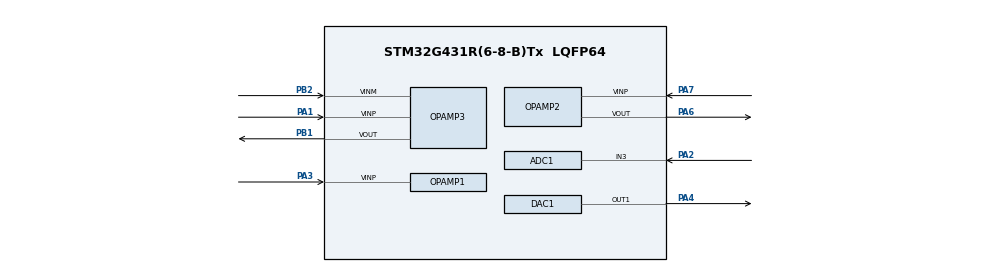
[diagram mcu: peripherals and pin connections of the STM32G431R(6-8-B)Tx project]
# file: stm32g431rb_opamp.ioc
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ADC1.Channel-4\#ChannelRegularConversion=ADC_CHANNEL_3
ADC1.Channel-5\#ChannelRegularConversion=ADC_CHANNEL_12
ADC1.ClockPrescaler=ADC_CLOCK_ASYNC_DIV4
ADC1.DMAContinuousRequests=ENABLE
ADC1.EOCSelection=ADC_EOC_SEQ_CONV
ADC1.NbrOfConversion=2
ADC1.NbrOfConversionFlag=1
ADC1.OffsetNumber-4\#ChannelRegularConversion=ADC_OFFSET_NONE
ADC1.OffsetNumber-5\#ChannelRegularConversion=ADC_OFFSET_NONE
ADC1.Rank-4\#ChannelRegularConversion=1
ADC1.Rank-5\#ChannelRegularConversion=2
ADC1.SamplingTime-4\#ChannelRegularConversion=ADC_SAMPLETIME_12CYCLES_5
ADC1.SamplingTime-5\#ChannelRegularConversion=ADC_SAMPLETIME_12CYCLES_5
ADC1.master=1
Dma.ADC1.0.Direction=DMA_PERIPH_TO_MEMORY
Dma.ADC1.0.EventEnable=DISABLE
Dma.ADC1.0.Instance=DMA1_Channel1
Dma.ADC1.0.MemDataAlignment=DMA_MDATAALIGN_HALFWORD
Dma.ADC1.0.MemInc=DMA_MINC_ENABLE
Dma.ADC1.0.Mode=DMA_CIRCULAR
Dma.ADC1.0.PeriphDataAlignment=DMA_PDATAALIGN_HALFWORD
Dma.ADC1.0.PeriphInc=DMA_PINC_DISABLE
Dma.ADC1.0.Polarity=HAL_DMAMUX_REQ_GEN_RISING
Dma.ADC1.0.Priority=DMA_PRIORITY_LOW
Dma.ADC1.0.RequestNumber=1
Dma.ADC1.0.SignalID=NONE
Dma.ADC1.0.SyncEnable=DISABLE
Dma.ADC1.0.SyncPolarity=HAL_DMAMUX_SYNC_NO_EVENT
Dma.ADC1.0.SyncRequestNumber=1
Dma.ADC1.0.SyncSignalID=NONE
Dma.Request0=ADC1
Mcu.Family=STM32G4
Mcu.Name=STM32G431R(6-8-B)Tx
Mcu.Package=LQFP64
NVIC.DMA1_Channel1_IRQn=true\:0\:0\:false\:false\:true\:false\:true
NVIC.PriorityGroup=NVIC_PRIORITYGROUP_4
OPAMP1.PowerMode=OPAMP_POWERMODE_HIGHSPEED
OPAMP2.PowerMode=OPAMP_POWERMODE_HIGHSPEED
OPAMP3.PowerMode=OPAMP_POWERMODE_HIGHSPEED
PA1.Mode=Standalone
PA1.Signal=OPAMP3_VINP
PA13.Mode=Serial_Wire
PA13.Signal=SYS_JTMS-SWDIO
PA14.Mode=Serial_Wire
PA14.Signal=SYS_JTCK-SWCLK
PA2.Signal=SharedAnalog_PA2
PA3.Mode=Follower
PA3.Signal=OPAMP1_VINP
PA4.Signal=COMP_DAC11_group
PA6.Mode=Follower
PA6.Signal=OPAMP2_VOUT
PA7.Mode=Follower
PA7.Signal=OPAMP2_VINP
PB1.Signal=SharedAnalog_PB1
PB2.Mode=Standalone
PB2.Signal=OPAMP3_VINM
ProjectManager.HeapSize=0x200
ProjectManager.StackSize=0x400
ProjectManager.TargetToolchain=MDK-ARM V5
RCC.ADC12Freq_Value=170000000
RCC.AHBFreq_Value=170000000
RCC.APB1Freq_Value=170000000
RCC.APB1TimFreq_Value=170000000
RCC.APB2Freq_Value=170000000
RCC.APB2TimFreq_Value=170000000
RCC.CortexFreq_Value=170000000
RCC.EXTERNAL_CLOCK_VALUE=12288000
RCC.HCLKFreq_Value=170000000
RCC.HSE_VALUE=8000000
RCC.HSI48_VALUE=48000000
RCC.HSI_VALUE=16000000
RCC.LSE_VALUE=32768
RCC.PLLM=RCC_PLLM_DIV4
RCC.PLLN=85
RCC.SYSCLKFreq_VALUE=170000000
RCC.SYSCLKSource=RCC_SYSCLKSOURCE_PLLCLK
RCC.USBFreq_Value=170000000
RCC.VCOOutputFreq_Value=340000000
SH.COMP_DAC11_group.0=DAC1_OUT1,DAC_OUT1
SH.SharedAnalog_PA2.0=ADC1_IN3,IN3-Single-Ended
SH.SharedAnalog_PA2.1=OPAMP1_VOUT,Follower
SH.SharedAnalog_PB1.0=OPAMP3_VOUT,Standalone
SH.SharedAnalog_PB1.1=ADC1_IN12,IN12-Single-Ended
VP_SYS_VS_DBSignals.Mode=DisableDeadBatterySignals
board=custom

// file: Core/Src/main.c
/* USER CODE BEGIN Header */
/**
  ******************************************************************************
  * @file           : main.c
  * @brief          : Main program body
  ******************************************************************************
  * @attention
  *
  * <h2><center>&copy; Copyright (c) 2021 STMicroelectronics.
  * All rights reserved.</center></h2>
  *
  * This software component is licensed by ST under BSD 3-Clause license,
  * the "License"; You may not use this file except in compliance with the
  * License. You may obtain a copy of the License at:
  *                        opensource.org/licenses/BSD-3-Clause
  *
  ******************************************************************************
  */
/* USER CODE END Header */
#include "main.h"
#include "adc.h"
#include "dac.h"
#include "dma.h"
#include "opamp.h"
#include "gpio.h"

void SystemClock_Config(void);

/* USER CODE BEGIN 0 */
#define ADCCONVERTEDVALUES_BUFFER_SIZE ((uint32_t)  2)
static __IO uint16_t   aADCxConvertedValues[ADCCONVERTEDVALUES_BUFFER_SIZE];

static void Activate_DMA_ADC(void);
static void Activate_ADC(void);
static void Activate_OPAMP(void);
static void Activate_DAC(void);
/* USER CODE END 0 */

int main(void)
{

  /* MCU Configuration--------------------------------------------------------*/

  /* Reset of all peripherals, Initializes the Flash interface and the Systick. */

  LL_APB2_GRP1_EnableClock(LL_APB2_GRP1_PERIPH_SYSCFG);
  LL_APB1_GRP1_EnableClock(LL_APB1_GRP1_PERIPH_PWR);

  NVIC_SetPriorityGrouping(NVIC_PRIORITYGROUP_4);

  /* System interrupt init*/

  /** Disable the internal Pull-Up in Dead Battery pins of UCPD peripheral
  */
  LL_PWR_DisableUCPDDeadBattery();

  /* Configure the system clock */
  SystemClock_Config();

  /* Initialize all configured peripherals */
  MX_GPIO_Init();
  MX_DMA_Init();
  MX_ADC1_Init();
  MX_OPAMP1_Init();
  MX_OPAMP2_Init();
  MX_OPAMP3_Init();
  MX_DAC1_Init();
  /* USER CODE BEGIN 2 */
	Activate_DAC();
	Activate_OPAMP();
	Activate_DMA_ADC();
	Activate_ADC();
  /* USER CODE END 2 */

  /* Infinite loop */
  while (1)
  {

  }
}

void SystemClock_Config(void)
{
  LL_FLASH_SetLatency(LL_FLASH_LATENCY_4);
  while(LL_FLASH_GetLatency() != LL_FLASH_LATENCY_4)
  {
  }
  LL_PWR_EnableRange1BoostMode();
  LL_RCC_HSI_Enable();
   /* Wait till HSI is ready */
  while(LL_RCC_HSI_IsReady() != 1)
  {
  }

  LL_RCC_HSI_SetCalibTrimming(64);
  LL_RCC_PLL_ConfigDomain_SYS(LL_RCC_PLLSOURCE_HSI, LL_RCC_PLLM_DIV_4, 85, LL_RCC_PLLR_DIV_2);
  LL_RCC_PLL_EnableDomain_SYS();
  LL_RCC_PLL_Enable();
   /* Wait till PLL is ready */
  while(LL_RCC_PLL_IsReady() != 1)
  {
  }

  LL_RCC_SetSysClkSource(LL_RCC_SYS_CLKSOURCE_PLL);
  LL_RCC_SetAHBPrescaler(LL_RCC_SYSCLK_DIV_2);
   /* Wait till System clock is ready */
  while(LL_RCC_GetSysClkSource() != LL_RCC_SYS_CLKSOURCE_STATUS_PLL)
  {
  }

  /* Insure 1?s transition state at intermediate medium speed clock based on DWT */
  CoreDebug->DEMCR |= CoreDebug_DEMCR_TRCENA_Msk;
  DWT->CTRL |= DWT_CTRL_CYCCNTENA_Msk;
  DWT->CYCCNT = 0;
  while(DWT->CYCCNT < 100);
  /* Set AHB prescaler*/
  LL_RCC_SetAHBPrescaler(LL_RCC_SYSCLK_DIV_1);
  LL_RCC_SetAPB1Prescaler(LL_RCC_APB1_DIV_1);
  LL_RCC_SetAPB2Prescaler(LL_RCC_APB2_DIV_1);

  LL_Init1msTick(170000000);

  LL_SetSystemCoreClock(170000000);
  LL_RCC_SetADCClockSource(LL_RCC_ADC12_CLKSOURCE_SYSCLK);
}

/* USER CODE BEGIN 4 */
static void Activate_DMA_ADC(void)
{
  /* Select ADC as DMA transfer request */
  LL_DMA_SetPeriphRequest(DMA1,  LL_DMA_CHANNEL_1, LL_DMAMUX_REQ_ADC1);

  /* Set DMA transfer addresses of source and destination */
  LL_DMA_ConfigAddresses(DMA1,
                         LL_DMA_CHANNEL_1,
                         LL_ADC_DMA_GetRegAddr(ADC1, LL_ADC_DMA_REG_REGULAR_DATA),
                         (uint32_t)&aADCxConvertedValues[0],
                         LL_DMA_DIRECTION_PERIPH_TO_MEMORY);

  /* Set DMA transfer size */
  LL_DMA_SetDataLength(DMA1, LL_DMA_CHANNEL_1, ADCCONVERTEDVALUES_BUFFER_SIZE);

  /* Enable DMA transfer interruption: transfer complete */
  LL_DMA_EnableIT_TC(DMA1, LL_DMA_CHANNEL_1);

  /* Enable DMA transfer interruption: half transfer */
  //LL_DMA_EnableIT_HT(DMA1, LL_DMA_CHANNEL_2);

  /* Enable DMA transfer interruption: transfer error */
  LL_DMA_EnableIT_TE(DMA1, LL_DMA_CHANNEL_1);

  /*## Activation of DMA #####################################################*/
  /* Enable the DMA transfer */
  LL_DMA_EnableChannel(DMA1, LL_DMA_CHANNEL_1);
}

#define ADC_DELAY_CALIB_ENABLE_CPU_CYCLES  (LL_ADC_DELAY_CALIB_ENABLE_ADC_CYCLES * 32)
static void Activate_ADC(void)
{
  __IO uint32_t wait_loop_index = 0U;
  #if (USE_TIMEOUT == 1)
  uint32_t Timeout = 0U; /* Variable used for timeout management */
  #endif /* USE_TIMEOUT */

  /*## Operation on ADC hierarchical scope: ADC instance #####################*/

  /* Note: Hardware constraint (refer to description of the functions         */
  /*       below):                                                            */
  /*       On this STM32 serie, setting of these features is conditioned to   */
  /*       ADC state:                                                         */
  /*       ADC must be disabled.                                              */
  /* Note: In this example, all these checks are not necessary but are        */
  /*       implemented anyway to show the best practice usages                */
  /*       corresponding to reference manual procedure.                       */
  /*       Software can be optimized by removing some of these checks, if     */
  /*       they are not relevant considering previous settings and actions    */
  /*       in user application.                                               */
  if (LL_ADC_IsEnabled(ADC1) == 0)
  {
    /* Disable ADC deep power down (enabled by default after reset state) */
    LL_ADC_DisableDeepPowerDown(ADC1);

    /* Enable ADC internal voltage regulator */
    LL_ADC_EnableInternalRegulator(ADC1);

    /* Delay for ADC internal voltage regulator stabilization.                */
    /* Compute number of CPU cycles to wait for, from delay in us.            */
    /* Note: Variable divided by 2 to compensate partially                    */
    /*       CPU processing cycles (depends on compilation optimization).     */
    /* Note: If system core clock frequency is below 200kHz, wait time        */
    /*       is only a few CPU processing cycles.                             */
    wait_loop_index = ((LL_ADC_DELAY_INTERNAL_REGUL_STAB_US * (SystemCoreClock / (100000 * 2))) / 10);
    while(wait_loop_index != 0)
    {
      wait_loop_index--;
    }

    /* Run ADC self calibration */
    LL_ADC_StartCalibration(ADC1, LL_ADC_SINGLE_ENDED);

    /* Poll for ADC effectively calibrated */
    #if (USE_TIMEOUT == 1)
    Timeout = ADC_CALIBRATION_TIMEOUT_MS;
    #endif /* USE_TIMEOUT */

    while (LL_ADC_IsCalibrationOnGoing(ADC1) != 0)
    {
    #if (USE_TIMEOUT == 1)
      /* Check Systick counter flag to decrement the time-out value */
      if (LL_SYSTICK_IsActiveCounterFlag())
      {
        if(Timeout-- == 0)
        {
					Error_Handler();
        }
      }
    #endif /* USE_TIMEOUT */
    }

    /* Delay between ADC end of calibration and ADC enable.                   */
    /* Note: Variable divided by 2 to compensate partially                    */
    /*       CPU processing cycles (depends on compilation optimization).     */
    wait_loop_index = (ADC_DELAY_CALIB_ENABLE_CPU_CYCLES >> 1);
    while(wait_loop_index != 0)
    {
      wait_loop_index--;
    }

    /* Enable ADC */
    LL_ADC_Enable(ADC1);

    /* Poll for ADC ready to convert */
    #if (USE_TIMEOUT == 1)
    Timeout = ADC_ENABLE_TIMEOUT_MS;
    #endif /* USE_TIMEOUT */

    while (LL_ADC_IsActiveFlag_ADRDY(ADC1) == 0)
    {
    #if (USE_TIMEOUT == 1)
      /* Check Systick counter flag to decrement the time-out value */
      if (LL_SYSTICK_IsActiveCounterFlag())
      {
        if(Timeout-- == 0)
        {
					Error_Handler();
        }
      }
    #endif /* USE_TIMEOUT */
    }

    /* Note: ADC flag ADRDY is not cleared here to be able to check ADC       */
    /*       status afterwards.                                               */
    /*       This flag should be cleared at ADC Deactivation, before a new    */
    /*       ADC activation, using function "LL_ADC_ClearFlag_ADRDY()".       */
  }

  /*## Operation on ADC hierarchical scope: ADC group regular ################*/
  /* Note: No operation on ADC group regular performed here.                  */
  /*       ADC group regular conversions to be performed after this function  */
  /*       using function:                                                    */
  /*       "LL_ADC_REG_StartConversion();"                                    */

  /*## Operation on ADC hierarchical scope: ADC group injected ###############*/
  /* Note: No operation on ADC group injected performed here.                 */
  /*       ADC group injected conversions to be performed after this function */
  /*       using function:                                                    */
  /*       "LL_ADC_INJ_StartConversion();"                                    */

	if ((LL_ADC_IsEnabled(ADC1) == 1) &&(LL_ADC_IsDisableOngoing(ADC1) == 0)&&(LL_ADC_REG_IsConversionOngoing(ADC1) == 0))
  {
    LL_ADC_REG_StartConversion(ADC1);
	}
}

static void Activate_OPAMP(void)
{
  __IO uint32_t wait_loop_index = 0;

  /* Enable OPAMP */
	LL_OPAMP_Enable(OPAMP1);
	LL_OPAMP_Enable(OPAMP2);
  LL_OPAMP_Enable(OPAMP3);

  /* Delay for OPAMP startup time.                                            */
  /* Compute number of CPU cycles to wait for, from delay in us.              */
  /* Note: Variable divided by 2 to compensate partially                      */
  /*       CPU processing cycles (depends on compilation optimization).       */
  /* Note: If system core clock frequency is below 200kHz, wait time          */
  /*       is only a few CPU processing cycles.                               */
  wait_loop_index = ((LL_OPAMP_DELAY_STARTUP_US * (SystemCoreClock / (100000 * 2))) / 10);
  while(wait_loop_index != 0)
  {
    wait_loop_index--;
  }
}

static void Activate_DAC(void)
{
  __IO uint32_t wait_loop_index = 0;

  /* Enable DAC channel */
  LL_DAC_Enable(DAC1, LL_DAC_CHANNEL_1);

  /* Delay for DAC channel voltage settling time from DAC channel startup.    */
  /* Compute number of CPU cycles to wait for, from delay in us.              */
  /* Note: Variable divided by 2 to compensate partially                      */
  /*       CPU processing cycles (depends on compilation optimization).       */
  /* Note: If system core clock frequency is below 200kHz, wait time          */
  /*       is only a few CPU processing cycles.                               */
  wait_loop_index = ((LL_DAC_DELAY_STARTUP_VOLTAGE_SETTLING_US * (SystemCoreClock / (100000 * 2))) / 10);
  while(wait_loop_index != 0)
  {
    wait_loop_index--;
  }

	LL_DAC_EnableTrigger(DAC1, LL_DAC_CHANNEL_1);

	LL_DAC_ConvertData12RightAligned(DAC1, LL_DAC_CHANNEL_1, 1241);
	LL_DAC_TrigSWConversion(DAC1, LL_DAC_CHANNEL_1);
}
/* USER CODE END 4 */

void Error_Handler(void)
{
  __disable_irq();
  while (1)
  {
  }
}

/************************ (C) COPYRIGHT STMicroelectronics *****END OF FILE****/
